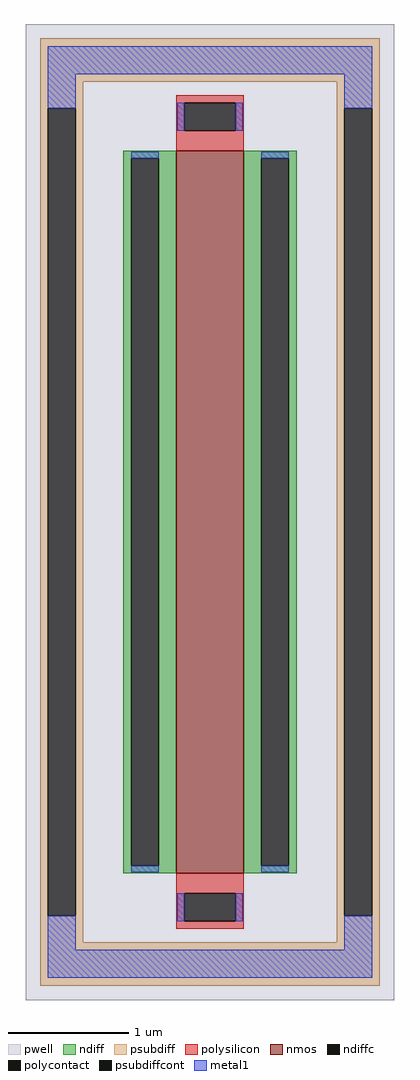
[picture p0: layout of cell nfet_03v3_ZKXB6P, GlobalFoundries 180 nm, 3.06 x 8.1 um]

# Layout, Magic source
magic
tech gf180mcuD
magscale 1 10
<< pwell >>
rect -306 -810 306 810
<< nmos >>
rect -56 -600 56 600
<< ndiff >>
rect -144 587 -56 600
rect -144 -587 -131 587
rect -85 -587 -56 587
rect -144 -600 -56 -587
rect 56 587 144 600
rect 56 -587 85 587
rect 131 -587 144 587
rect 56 -600 144 -587
<< ndiffc >>
rect -131 -587 -85 587
rect 85 -587 131 587
<< psubdiff >>
rect -282 714 282 786
rect -282 670 -210 714
rect -282 -670 -269 670
rect -223 -670 -210 670
rect 210 670 282 714
rect -282 -714 -210 -670
rect 210 -670 223 670
rect 269 -670 282 670
rect 210 -714 282 -670
rect -282 -786 282 -714
<< psubdiffcont >>
rect -269 -670 -223 670
rect 223 -670 269 670
<< polysilicon >>
rect -56 679 56 692
rect -56 633 -43 679
rect 43 633 56 679
rect -56 600 56 633
rect -56 -633 56 -600
rect -56 -679 -43 -633
rect 43 -679 56 -633
rect -56 -692 56 -679
<< polycontact >>
rect -43 633 43 679
rect -43 -679 43 -633
<< metal1 >>
rect -269 727 269 773
rect -269 670 -223 727
rect -54 633 -43 679
rect 43 633 54 679
rect 223 670 269 727
rect -131 587 -85 598
rect -131 -598 -85 -587
rect 85 587 131 598
rect 85 -598 131 -587
rect -269 -727 -223 -670
rect -54 -679 -43 -633
rect 43 -679 54 -633
rect 223 -727 269 -670
rect -269 -773 269 -727
<< properties >>
string FIXED_BBOX -246 -750 246 750
string gencell nfet_03v3
string library gf180mcu
string parameters w 6.0 l 0.56 m 1 nf 1 diffcov 100 polycov 100 guard 1 glc 1 grc 1 gtc 0 gbc 0 tbcov 100 rlcov 100 topc 1 botc 1 poverlap 0 doverlap 1 lmin 0.28 wmin 0.22 class mosfet full_metal 1 compatible {nfet_03v3 nfet_05v0 nfet_06v0 nfet_06v0_nvt} ad {int((nf+1)/2) * W/nf * 0.18u} as {int((nf+2)/2) * W/nf * 0.18u} pd {2*int((nf+1)/2) * (W/nf + 0.18u)} ps {2*int((nf+2)/2) * (W/nf + 0.18u)} nrd {0.18u / W} nrs {0.18u / W} sa 0 sb 0 sd 0
<< end >>
